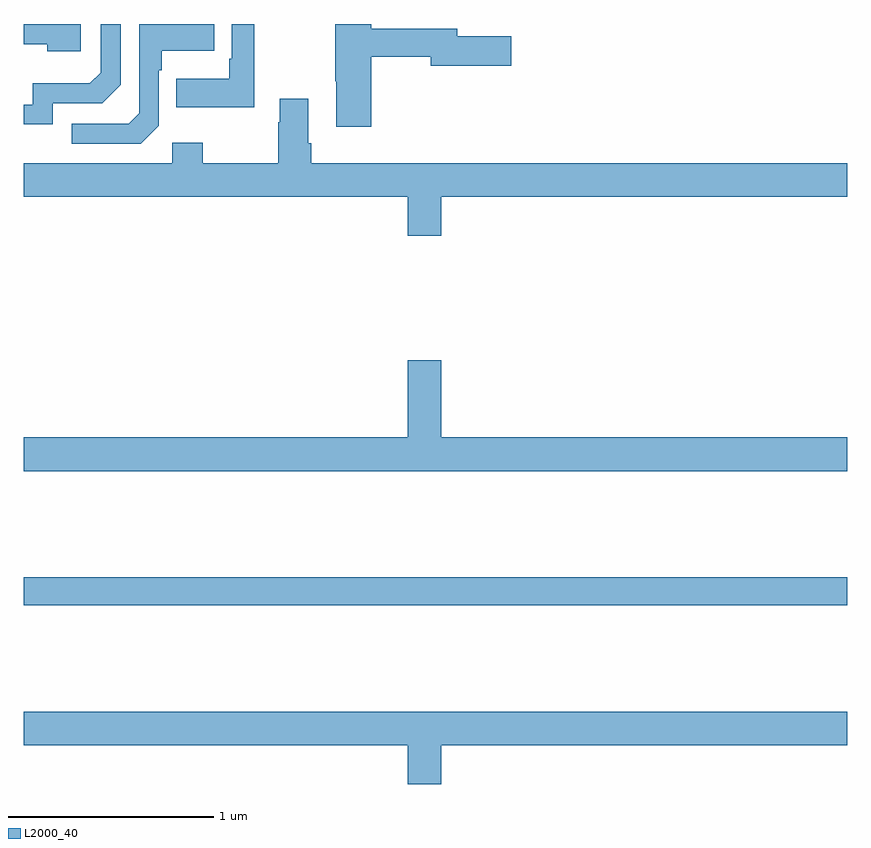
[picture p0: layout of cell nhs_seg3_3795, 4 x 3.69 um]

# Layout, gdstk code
import gdstk
lib = gdstk.Library(unit=1e-6, precision=1e-09)
def R(c, l, rs):  # rectangles x0, y0, x1, y1
    for r in rs: c.add(gdstk.rectangle(r[:2], r[2:], *l))
def P(c, l, *ps):  # polygons
    for p in ps: c.add(gdstk.Polygon(p, *l))
L2000_40 = (2000, 40)

nhs_seg3_3795 = lib.new_cell('nhs_seg3_3795')
R(nhs_seg3_3795, L2000_40, [(307,721.576,311,721.712)])
P(nhs_seg3_3795, L2000_40, [(307.14,724.014),(307.38,724.014),(307.47,724.104),(307.47,724.4),(307.374,724.4),(307.374,724.164),(307.321,724.111),(307.044,724.111),(307.044,724.008),(307,724.008),(307,723.912),(307.14,723.912)],
  [(307.656,723.906),(307.656,724.175),(307.669,724.175),(307.669,724.271),(307.925,724.271),(307.925,724.4),(307.56,724.4),(307.56,723.966),(307.509,723.915),(307.233,723.915),(307.233,723.819),(307.569,723.819)],
  [(308.687,724.24),(308.978,724.24),(308.978,724.198),(309.367,724.198),(309.367,724.34),(309.106,724.34),(309.106,724.376),(308.687,724.376),(308.687,724.4),(308.512,724.4),(308.512,724.123),(308.519,724.123),(308.519,723.9),(308.687,723.9)],
  [(308.119,724.4),(308.01,724.4),(308.01,724.231),(307.998,724.231),(307.998,724.135),(307.741,724.135),(307.741,723.995),(308.119,723.995)],
  [(307.276,724.398),(307,724.398),(307,724.302),(307.115,724.302),(307.115,724.268),(307.276,724.268)],
  [(309.028,723.56),(311,723.56),(311,723.724),(308.396,723.724),(308.396,723.82),(308.383,723.82),(308.383,724.036),(308.243,724.036),(308.243,723.923),(308.236,723.923),(308.236,723.724),(307.869,723.724),(307.869,723.823),(307.722,723.823),(307.722,723.724),(307,723.724),(307,723.56),(308.864,723.56),(308.864,723.372),(309.028,723.372)],
  [(311,722.392),(309.028,722.392),(309.028,722.767),(308.864,722.767),(308.864,722.392),(307,722.392),(307,722.228),(311,722.228)],
  [(309.028,720.896),(311,720.896),(311,721.06),(307,721.06),(307,720.896),(308.864,720.896),(308.864,720.708),(309.028,720.708)])

lib.write_gds('nhs_seg3_3795.gds')
